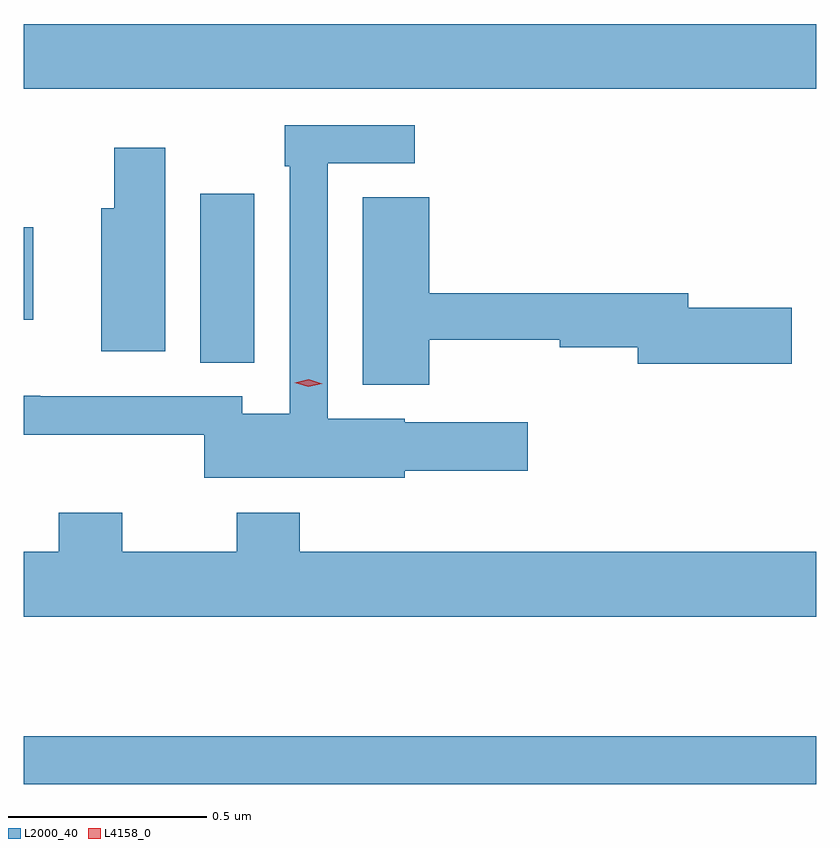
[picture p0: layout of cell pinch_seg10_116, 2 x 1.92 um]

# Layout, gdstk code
import gdstk
lib = gdstk.Library(unit=1e-6, precision=1e-09)
def R(c, l, rs):  # rectangles x0, y0, x1, y1
    for r in rs: c.add(gdstk.rectangle(r[:2], r[2:], *l))
def P(c, l, *ps):  # polygons
    for p in ps: c.add(gdstk.Polygon(p, *l))
L2000_40 = (2000, 40)
L4158_0 = (4158, 0)

pinch_seg10_116 = lib.new_cell('pinch_seg10_116')
R(pinch_seg10_116, L2000_40, [(658.855,1317.21,660.855,1317.331), (659.3,1318.273,659.437,1318.699), (658.855,1318.382,658.879,1318.615), (658.855,1318.964,660.855,1319.128)])
P(pinch_seg10_116, L2000_40, [(659.817,1318.001),(660.127,1318.001),(660.127,1318.123),(659.817,1318.123),(659.817,1318.132),(659.622,1318.132),(659.622,1318.776),(659.842,1318.776),(659.842,1318.872),(659.514,1318.872),(659.514,1318.769),(659.526,1318.769),(659.526,1318.144),(659.406,1318.144),(659.406,1318.188),(658.897,1318.188),(658.897,1318.19),(658.855,1318.19),(658.855,1318.091),(659.31,1318.091),(659.31,1317.983),(659.817,1317.983)],
  [(659.212,1318.816),(659.083,1318.816),(659.083,1318.663),(659.051,1318.663),(659.051,1318.302),(659.212,1318.302)],
  [(659.878,1318.331),(660.208,1318.331),(660.208,1318.312),(660.404,1318.312),(660.404,1318.27),(660.793,1318.27),(660.793,1318.412),(660.532,1318.412),(660.532,1318.448),(659.878,1318.448),(659.878,1318.691),(659.711,1318.691),(659.711,1318.217),(659.878,1318.217)],
  [(660.855,1317.796),(659.552,1317.796),(659.552,1317.895),(659.392,1317.895),(659.392,1317.796),(659.103,1317.796),(659.103,1317.895),(658.943,1317.895),(658.943,1317.796),(658.855,1317.796),(658.855,1317.632),(660.855,1317.632)])
P(pinch_seg10_116, L4158_0, [(659.573,1318.212),(659.539,1318.223),(659.539,1318.223),(659.539,1318.223),(659.574,1318.232),(659.608,1318.22),(659.608,1318.22),(659.608,1318.22)])

lib.write_gds('pinch_seg10_116.gds')
